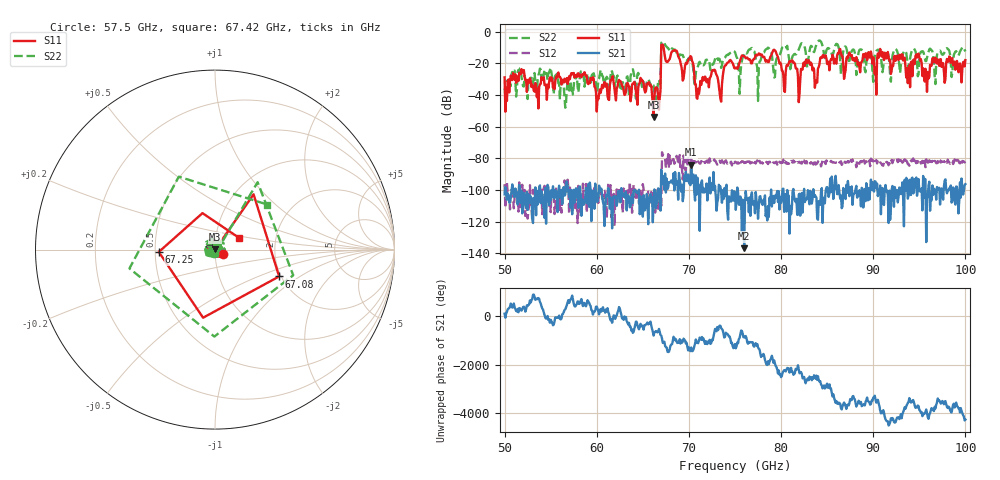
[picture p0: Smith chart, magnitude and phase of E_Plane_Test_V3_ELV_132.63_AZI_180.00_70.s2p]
! 11/26/2026 4:46:31 PM
! C:\ANRITSUVNA\TEMP\TEMP.S2P
! CHANNEL.1
! TR.MEASUREMENT
! RAW.DATA
# HZ S RI R 50.0
! FREQ.HZ  S11RE  S11IM  S21RE  S21IM  S12RE  S12IM  S22RE  S22IM
!; PortSelection: Port_12
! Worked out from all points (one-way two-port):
!   601 points, 50 GHz to 100 GHz, reference 50 ohm
!   highest |S21| = -84.11 dB at 70.25 GHz (marker M1); lowest = -137.0 dB at 76 GHz (marker M2)
!   lowest |S11| = -53.9 dB at 66.17 GHz (marker M3), VSWR 1.00, Z = 50.1 + j0.147 ohm
!   |S11| at or under -10 dB: start of sweep to 67 GHz; 67.25 GHz to end of sweep
!   |S22| runs from -48.1 to -5.6 dB; largest |S21 - S12| = 0.00015
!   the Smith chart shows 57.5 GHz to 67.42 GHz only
!   S11 on the Smith chart (normalised r, x): 57.5 GHz: 1.09, -0.05; 67.08 GHz: 1.95, -0.69; 67.25 GHz: 0.52, -0.02; 67.42 GHz: 1.29, +0.18
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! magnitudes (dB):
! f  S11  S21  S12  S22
! 50 GHz  -28.9  -102.8  -96.4  -35.8
! 51.67 GHz  -26.3  -97.8  -109.2  -23.2
! 53.42 GHz  -34.7  -116.0  -102.1  -35.2
! 57.5 GHz  -26.1  -100.0  -109.8  -34.6
! 58.42 GHz  -27.1  -106.1  -106.7  -24.7
! 60.17 GHz  -42.7  -104.0  -108.2  -30.4
! 61.67 GHz  -28.7  -124.3  -107.8  -25.4
! 66.17 GHz  -53.9  -106.7  -103.5  -34.0
! 66.67 GHz  -41.5  -99.0  -111.9  -31.6
! 67.08 GHz  -8.2  -96.5  -76.2  -6.8
! 67.25 GHz  -10.1  -92.3  -78.2  -6.2
! 67.42 GHz  -16.6  -89.7  -80.4  -8.3
! 70.25 GHz  -15.9  -84.1  -80.3  -18.8
! 70.92 GHz  -42.4  -92.3  -81.8  -23.1
! 75 GHz  -23.3  -102.7  -82.2  -13.0
! 76 GHz  -15.4  -137.0  -83.0  -14.1
! 83.42 GHz  -24.5  -105.7  -83.4  -10.8
! 91.67 GHz  -16.7  -120.9  -84.4  -15.2
! 93.75 GHz  -32.6  -105.5  -83.7  -21.3
! 94.83 GHz  -15.0  -99.9  -82.8  -28.2
! 95.83 GHz  -38.0  -105.5  -82.1  -16.6
! 100 GHz  -18.0  -96.4  -82.2  -12.6
